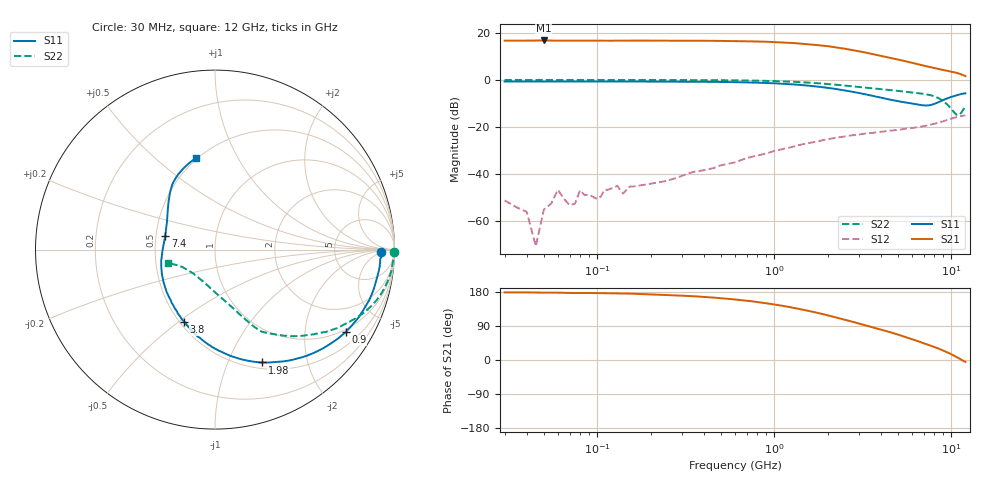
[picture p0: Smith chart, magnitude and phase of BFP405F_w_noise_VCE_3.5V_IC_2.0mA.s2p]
! Infineon Technologies  Discrete & RF Semiconductors
! BFP405F
! VCE =  3.5 V,  IC =  2.0 mA
! Common Emitter S-Parameters:  Nov 2015
# GHz  S  MA  R  50
!  f  S11  S21  S12  S22
! GHz  MAG  ANG  MAG  ANG  MAG  ANG  MAG  ANG
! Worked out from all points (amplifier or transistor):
!   239 points, 30 MHz to 12 GHz, reference 50 ohm
!   highest |S21| = 16.7 dB at 50 MHz (marker M1)
!   |S21| within 3 dB of that: start of sweep to 2.263 GHz
!   unconditionally stable (mu >= 1): 44.87 MHz to 45.34 MHz; 4.042 GHz to end of sweep
!   at 300 MHz: K = 0.08, MSG = 28.7 dB, |S12| = -40.7 dB
!   at 1.88 GHz: K = 0.36, MSG = 20.0 dB, |S12| = -25.6 dB
!   at 12 GHz: K = 1.67, MAG = 3.5 dB, |S12| = -15.0 dB
!   lowest NFmin = 1.01 dB at 450 MHz
!   S11 on the Smith chart (normalised r, x): 30 MHz: 24, -5; 900 MHz: 0.91, -3.22; 1.98 GHz: 0.57, -1.34; 3.8 GHz: 0.53, -0.52; 7.4 GHz: 0.56, +0.09; 12 GHz: 0.49, +0.68
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0.03  0.9246 -1.0  6.756 178.4  0.0028 59.3  0.9965 -0.7
0.04  0.9217 -1.3  6.761 178.4  0.0016 109.1  0.9948 -0.6
0.045  0.9213 -1.7  6.797 178.0  0.0003 13.6  0.9964 -0.8
0.05  0.9209 -2.2  6.833 177.7  0.0018 -48.6  0.9981 -0.9
0.06  0.9243 -2.1  6.757 177.6  0.0047 50.4  0.9969 -0.9
0.07  0.9271 -2.7  6.78 176.8  0.0022 -12.2  0.9951 -1.3
0.08  0.9236 -3.0  6.749 176.6  0.0046 87.0  0.9973 -1.4
0.085  0.9229 -3.1  6.76 176.7  0.0036 59.9  0.9954 -1.4
0.15  0.9231 -5.5  6.784 175.3  0.0054 80.8  0.995 -2.7
0.24  0.918 -8.7  6.754 171.9  0.0071 84.8  0.9929 -4.3
0.36  0.9129 -13.2  6.725 167.9  0.0115 82.7  0.9895 -6.4
0.6  0.894 -21.7  6.616 159.7  0.0179 82.1  0.977 -10.7
0.9  0.8605 -32.3  6.425 149.8  0.0275 75.4  0.9529 -15.8
1.2  0.8148 -42.6  6.116 140.3  0.0362 70.6  0.9197 -20.6
1.64  0.7401 -56.7  5.588 127.4  0.0474 64.3  0.8641 -26.8
1.98  0.6816 -67.3  5.199 118.4  0.055 59.1  0.8204 -31.5
2.68  0.5703 -86.6  4.364 102.5  0.0659 51.4  0.7377 -39.3
3.8  0.4369 -113.1  3.368 83.2  0.0779 44.0  0.6487 -48.0
4.5  0.3828 -129.0  2.935 73.5  0.0837 41.8  0.6094 -51.7
7.4  0.2878 164.5  1.902 40.1  0.1088 37.8  0.4856 -62.9
10.8  0.4758 113.6  1.393 6.5  0.1642 28.0  0.1809 -122.0
12  0.5189 102.0  1.2 -5.0  0.1773 22.8  0.274 -164.3
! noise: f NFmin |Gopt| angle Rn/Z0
0.45  1.01  0.58  7  0.45
0.9  1.03  0.54  15  0.46
1.5  1.15  0.52  21  0.41
1.9  1.2  0.49  29  0.4
2.4  1.39  0.46  38  0.41
3  1.47  0.43  49  0.39
3.5  1.53  0.42  59  0.36
4.5  1.72  0.35  76  0.3
5.5  1.97  0.23  93  0.22
